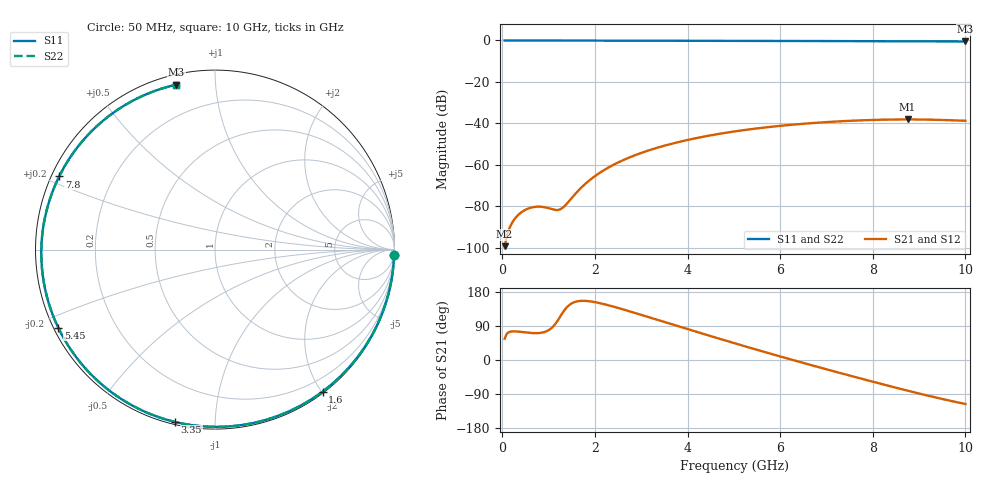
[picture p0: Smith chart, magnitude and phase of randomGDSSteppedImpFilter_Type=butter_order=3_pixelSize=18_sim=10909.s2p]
! freq	dB(S11)	phase(S11)	dB(S12)	phase(S12)
!  dB(S21)	phase(S21)	dB(S22)	phase(S22)
!S-par simulation data
#  GHz  S  DB  R 50
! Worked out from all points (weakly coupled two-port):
!   200 points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, 50 MHz to 10 GHz, reference 50 ohm
!   highest |S21| = -38.13 dB at 8.75 GHz (marker M1); lowest = -99.3 dB at 50 MHz (marker M2)
!   lowest |S11| = -0.5 dB at 10 GHz (marker M3), VSWR 34.61, Z = 2.35 + j39.6 ohm
!   |S11| at or under -10 dB: nowhere
!   |S22| runs from -0.5 to 0.0 dB; largest |S21 - S12| = 0
!   S11 on the Smith chart (normalised r, x): 50 MHz: 3, -70; 1.6 GHz: 0.02, -2.01; 3.35 GHz: 0.01, -0.79; 5.45 GHz: 0.01, -0.24; 7.8 GHz: 0.02, +0.22; 10 GHz: 0.05, +0.79
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0.05  -0.01 -1.6  -99.27 56.3  -99.27 56.3  -0.01 -1.6
0.65  -0.03 -22.0  -80.52 71.0  -80.52 71.0  -0.03 -22.0
1  -0.04 -33.6  -80.96 78.6  -80.96 78.6  -0.04 -33.6
1.35  -0.06 -44.9  -79.82 132.8  -79.82 132.8  -0.06 -44.9
1.6  -0.07 -52.8  -73.45 154.3  -73.45 154.3  -0.07 -52.8
1.75  -0.07 -57.5  -70.06 156.2  -70.06 156.2  -0.07 -57.5
2.05  -0.08 -66.6  -64.70 151.5  -64.70 151.5  -0.08 -66.6
2.4  -0.09 -76.9  -60.03 140.9  -60.03 140.9  -0.09 -76.9
2.85  -0.11 -89.6  -55.53 124.7  -55.53 124.7  -0.11 -89.6
3.35  -0.12 -103.1  -51.75 106.0  -51.75 106.0  -0.12 -103.1
3.4  -0.13 -104.4  -51.42 104.1  -51.42 104.1  -0.13 -104.4
4.25  -0.16 -125.7  -46.85 72.3  -46.85 72.3  -0.16 -125.7
5.05  -0.19 -144.5  -43.79 43.0  -43.79 43.0  -0.19 -144.5
5.45  -0.21 -153.5  -42.59 28.7  -42.59 28.7  -0.21 -153.5
6.05  -0.25 -166.8  -41.11 7.7  -41.11 7.7  -0.25 -166.8
6.7  -0.29 179.0  -39.86 -14.5  -39.86 -14.5  -0.29 179.0
7.25  -0.32 167.0  -39.07 -32.8  -39.07 -32.8  -0.32 167.0
7.8  -0.36 154.9  -38.51 -50.8  -38.51 -50.8  -0.36 154.9
8.35  -0.40 142.5  -38.19 -68.4  -38.19 -68.4  -0.40 142.5
8.75  -0.43 133.3  -38.13 -80.9  -38.13 -80.9  -0.43 133.3
9.4  -0.47 117.9  -38.31 -100.0  -38.31 -100.0  -0.47 117.9
10  -0.50 103.2  -38.77 -116.1  -38.77 -116.1  -0.50 103.2
